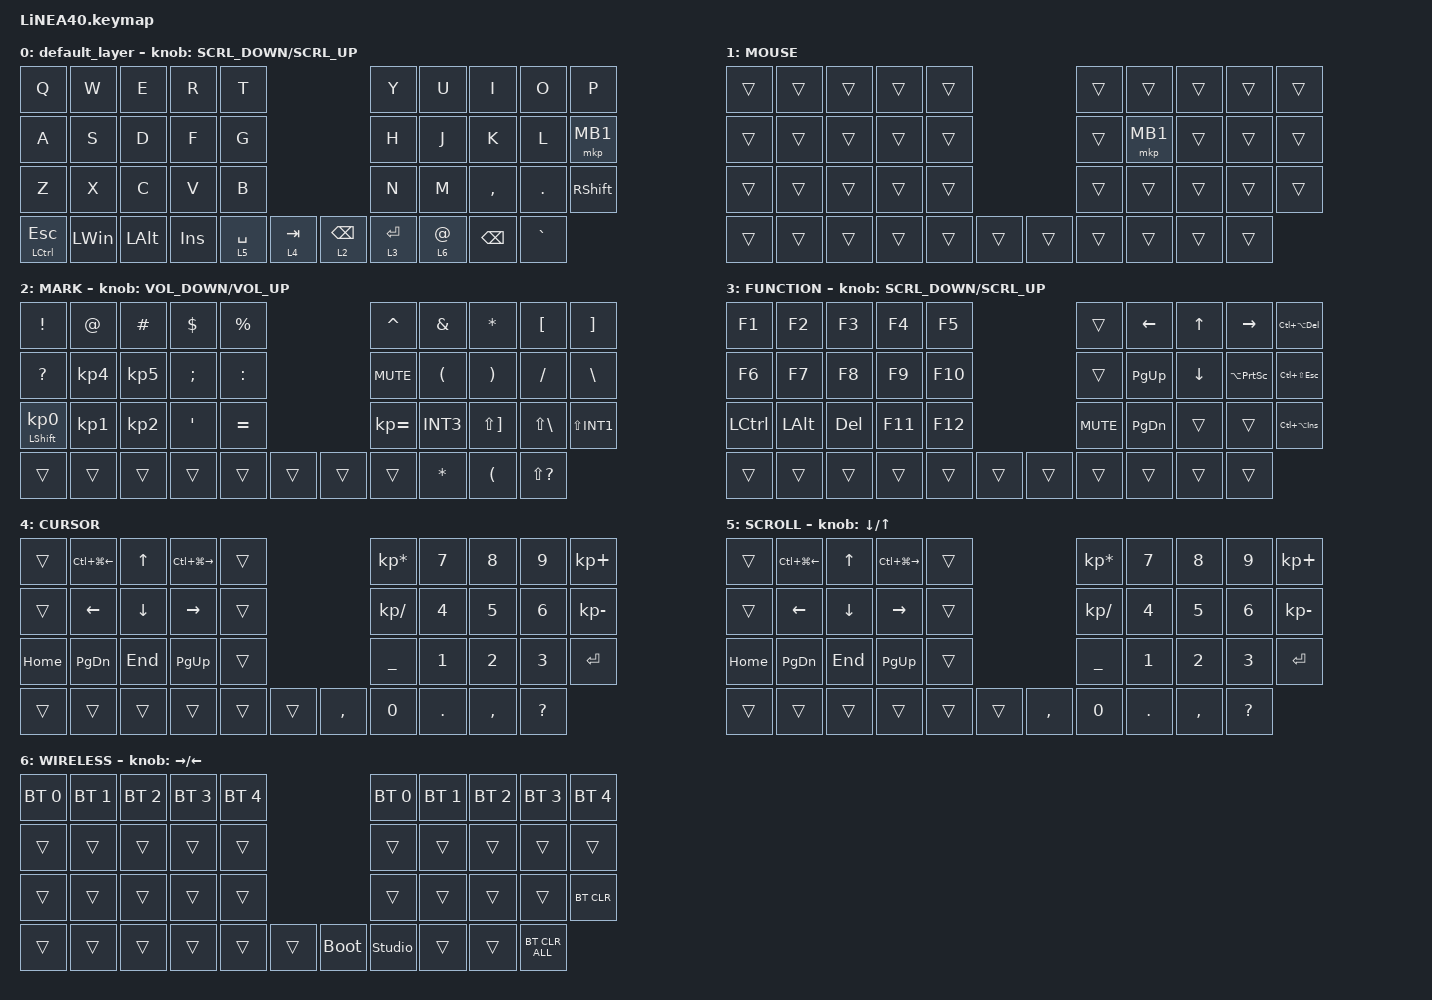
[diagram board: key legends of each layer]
#define ZMK_POINTING_DEFAULT_SCRL_VAL 150

#include <dt-bindings/zmk/input_transform.h>
#include <input/processors.dtsi>
#include <zephyr/dt-bindings/input/input-event-codes.h>
#include <behaviors.dtsi>
#include <dt-bindings/zmk/bt.h>
#include <dt-bindings/zmk/keys.h>
#include <dt-bindings/zmk/pointing.h>

#define MOUSE 1
#define MARK 2
#define CURSOR 3
#define FUNCTION 4
#define SCROLL 5
#define WIRELESS 6

//mouse cursol

&mmv {
    delay-ms = <20>;
    trigger-period-ms = <5>;
    time-to-max-speed-ms = <100>;
    acceleration-exponent = <2>;
};

//mouse scroll

&msc {
    delay-ms = <3>;
    trigger-period-ms = <3>;
    time-to-max-speed-ms = <100>;
    acceleration-exponent = <0>;
};

/ {
    input_processors {
        zip_wheel_scaler: zip_wheel_scaler {
            compatible = "zmk,input-processor-scaler";
            #input-processor-cells = <2>;
            type = <INPUT_EV_REL>;
            codes = <INPUT_REL_WHEEL>;
            track-remainders;
        };
    };
};

&msc_input_listener {
    speed_up {
        layers = <FUNCTION>;
        input-processors = <&zip_wheel_scaler 3 1>; //スクロールを3倍速にする
    };
};

&trackball_listener {
    scroller {
        layers = <SCROLL>;
        input-processors =
            <&zip_xy_transform INPUT_TRANSFORM_Y_INVERT>,
            //スクロール方向を逆転,,,,,,,,,,,,,,
            <&zip_xy_to_scroll_mapper>;
    };
};

/ {
    combos {
        compatible = "zmk,combos";

        ZenkakuHankaku {
            bindings = <&kp GRAVE>;
            key-positions = <11 12>;
        };

        DeleteKey {
            bindings = <&kp DEL>;
            key-positions = <7 8>;
        };

        BackspaceKey {
            bindings = <&kp BACKSPACE>;
            key-positions = <6 7>;
        };

        LeftClick {
            bindings = <&mkp MB1>;
            key-positions = <17 16>;
        };

        RightClick {
            bindings = <&mkp MB2>;
            key-positions = <18 17>;
        };

        PrevClick {
            bindings = <&mkp MB5>;
            key-positions = <27 28>;
        };

        ClickNext {
            bindings = <&mkp MB4>;
            key-positions = <26 27>;
        };

        Kana {
            bindings = <&kp LANG1>;
            key-positions = <12 13>;
        };

        Eisu {
            bindings = <&kp LANGUAGE_2>;
            key-positions = <22 23>;
        };

        Minus {
            bindings = <&kp MINUS>;
            key-positions = <18 19>;
        };

        Minus2 {
            bindings = <&kp MINUS>;
            key-positions = <2 3>;
        };

        Slush {
            bindings = <&kp SLASH>;
            key-positions = <1 2>;
        };
    };

    behaviors {
        re_kp: sensor_rotate_kp {
            compatible = "zmk,behavior-sensor-rotate-var";
            #sensor-binding-cells = <2>;
            bindings = <&kp>, <&kp>;
        };

        mouse_scrl: mouse_wheel_scrl {
            compatible = "zmk,behavior-sensor-rotate-var";
            #sensor-binding-cells = <2>;
            bindings = <&msc>, <&msc>;

            tap-ms = <20>;
        };
    };

    keymap {
        compatible = "zmk,keymap";

        default_layer {
            bindings = <
&kp Q          &kp W         &kp E         &kp R    &kp T                                      &kp Y        &kp U  &kp I      &kp O          &kp P
&kp A          &kp S         &kp D         &kp F    &kp G                                      &kp H        &kp J  &kp K      &kp L          &mkp MB1
&kp Z          &kp X         &kp C         &kp V    &kp B                                      &kp N        &kp M  &kp COMMA  &kp DOT        &kp RIGHT_SHIFT
&mt LCTRL ESC  &kp LEFT_WIN  &kp LEFT_ALT  &kp INS  &lt 5 SPACE  &lt 4 TAB    &lt 2 BACKSPACE  &lt 3 ENTER         &lt 6 AT   &kp BACKSPACE  &kp GRAVE
            >;

            sensor-bindings = <&mouse_scrl SCRL_DOWN SCRL_UP>;
        };

        MOUSE {
            bindings = <
&trans  &trans  &trans  &trans  &trans                    &trans  &trans    &trans  &trans  &trans
&trans  &trans  &trans  &trans  &trans                    &trans  &mkp MB1  &trans  &trans  &trans
&trans  &trans  &trans  &trans  &trans                    &trans  &trans    &trans  &trans  &trans
&trans  &trans  &trans  &trans  &trans  &trans    &trans  &trans            &trans  &trans  &trans
            >;
        };

        MARK {
            bindings = <
&kp EXCLAMATION             &kp AT           &kp HASH         &kp DOLLAR     &kp PERCENT                    &kp CARET     &kp AMPERSAND         &kp ASTERISK           &kp LEFT_BRACKET      &kp RIGHT_BRACKET
&kp QUESTION                &kp KP_NUMBER_4  &kp KP_NUMBER_5  &kp SEMICOLON  &kp COLON                      &kp C_MUTE    &kp LEFT_PARENTHESIS  &kp RIGHT_PARENTHESIS  &kp SLASH             &kp BACKSLASH
&mt LEFT_SHIFT KP_NUMBER_0  &kp KP_NUMBER_1  &kp KP_NUMBER_2  &kp APOS       &kp EQUAL                      &kp KP_EQUAL  &kp INT3              &kp LS(RIGHT_BRACKET)  &kp LS(BACKSLASH)     &kp LS(INT1)
&trans                      &trans           &trans           &trans         &trans       &trans    &trans  &trans                              &kp ASTERISK           &kp LEFT_PARENTHESIS  &kp LS(QUESTION)
            >;

            sensor-bindings = <&re_kp C_VOLUME_DOWN C_VOLUME_UP>;
        };

        FUNCTION {
            bindings = <
&kp F1            &kp F2        &kp F3      &kp F4   &kp F5                     &trans      &kp LEFT_ARROW  &kp UP_ARROW    &kp RIGHT_ARROW      &kp LC(LA(DELETE))
&kp F6            &kp F7        &kp F8      &kp F9   &kp F10                    &trans      &kp PAGE_UP     &kp DOWN_ARROW  &kp LA(PRINTSCREEN)  &kp LC(LS(ESCAPE))
&kp LEFT_CONTROL  &kp LEFT_ALT  &kp DELETE  &kp F11  &kp F12                    &kp C_MUTE  &kp PAGE_DOWN   &trans          &trans               &kp LC(LA(INS))
&trans            &trans        &trans      &trans   &trans   &trans    &trans  &trans                      &trans          &trans               &trans
            >;

            sensor-bindings = <&mouse_scrl SCRL_DOWN SCRL_UP>;
        };

        CURSOR {
            bindings = <
&trans    &kp LC(LG(LEFT_ARROW))  &kp UP_ARROW  &kp LC(LG(RIGHT_ARROW))  &trans                       &kp KP_MULTIPLY  &kp NUMBER_7  &kp NUMBER_8  &kp NUMBER_9  &kp KP_PLUS
&trans    &kp LEFT_ARROW          &kp DOWN      &kp RIGHT_ARROW          &trans                       &kp KP_SLASH     &kp NUMBER_4  &kp NUMBER_5  &kp NUMBER_6  &kp KP_MINUS
&kp HOME  &kp PAGE_DOWN           &kp END       &kp PAGE_UP              &trans                       &kp UNDER        &kp NUMBER_1  &kp NUMBER_2  &kp NUMBER_3  &kp ENTER
&trans    &trans                  &trans        &trans                   &trans  &trans    &kp COMMA  &kp NUMBER_0                   &kp PERIOD    &kp COMMA     &kp QUESTION
            >;
        };

        SCROLL {
            bindings = <
&trans    &kp LC(LG(LEFT_ARROW))  &kp UP_ARROW  &kp LC(LG(RIGHT_ARROW))  &trans                       &kp KP_MULTIPLY  &kp NUMBER_7  &kp NUMBER_8  &kp NUMBER_9  &kp KP_PLUS
&trans    &kp LEFT_ARROW          &kp DOWN      &kp RIGHT_ARROW          &trans                       &kp KP_SLASH     &kp NUMBER_4  &kp NUMBER_5  &kp NUMBER_6  &kp KP_MINUS
&kp HOME  &kp PAGE_DOWN           &kp END       &kp PAGE_UP              &trans                       &kp UNDER        &kp NUMBER_1  &kp NUMBER_2  &kp NUMBER_3  &kp ENTER
&trans    &trans                  &trans        &trans                   &trans  &trans    &kp COMMA  &kp NUMBER_0                   &kp DOT       &kp COMMA     &kp QUESTION
            >;

            sensor-bindings = <&inc_dec_kp DOWN_ARROW UP_ARROW>;
        };

        WIRELESS {
            bindings = <
&bt BT_SEL 0  &bt BT_SEL 1  &bt BT_SEL 2  &bt BT_SEL 3  &bt BT_SEL 4                         &bt BT_SEL 0    &bt BT_SEL 1  &bt BT_SEL 2  &bt BT_SEL 3  &bt BT_SEL 4
&trans        &trans        &trans        &trans        &trans                               &trans          &trans        &trans        &trans        &trans
&trans        &trans        &trans        &trans        &trans                               &trans          &trans        &trans        &trans        &bt BT_CLR
&trans        &trans        &trans        &trans        &trans        &trans    &bootloader  &studio_unlock                &trans        &trans        &bt BT_CLR_ALL
            >;

            sensor-bindings = <&inc_dec_kp RIGHT_ARROW LEFT_ARROW>;
        };
    };
};
